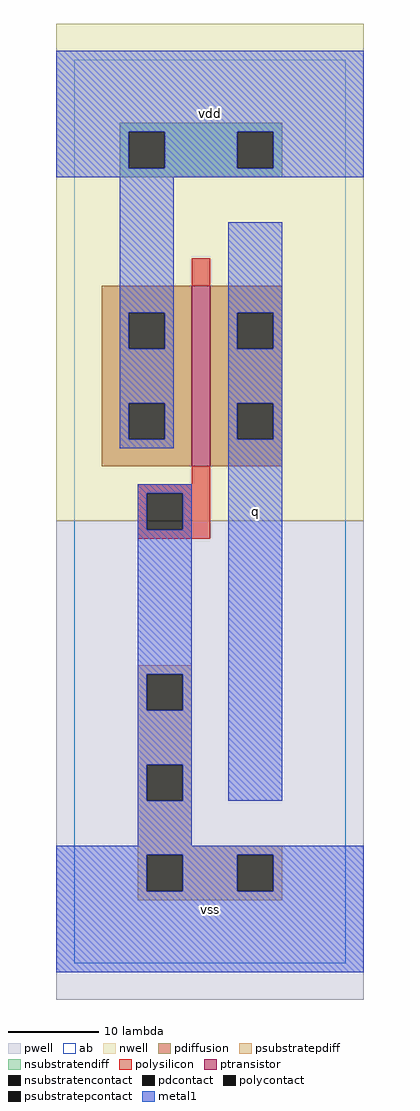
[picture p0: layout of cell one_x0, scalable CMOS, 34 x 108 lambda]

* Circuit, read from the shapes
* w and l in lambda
.subckt one_x0 q vdd vss
M1 q vss vdd vdd pfet w=20 l=2
.ends

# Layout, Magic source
magic
tech scmos
<< ab >>
rect 0 0 30 100
<< pwell >>
rect -2 -4 32 49
<< nwell >>
rect -2 49 32 104
<< polysilicon >>
rect 13 75 15 78
rect 13 53 15 55
rect 7 52 15 53
rect 7 48 8 52
rect 12 48 15 52
rect 7 47 15 48
<< pdiffusion >>
rect 3 72 13 75
rect 3 68 6 72
rect 10 68 13 72
rect 3 62 13 68
rect 3 58 6 62
rect 10 58 13 62
rect 3 55 13 58
rect 15 72 23 75
rect 15 68 18 72
rect 22 68 23 72
rect 15 62 23 68
rect 15 58 18 62
rect 22 58 23 62
rect 15 55 23 58
<< metal1 >>
rect -2 92 32 101
rect -2 88 6 92
rect 10 88 18 92
rect 22 88 32 92
rect -2 87 32 88
rect 5 72 11 87
rect 5 68 6 72
rect 10 68 11 72
rect 5 62 11 68
rect 5 58 6 62
rect 10 58 11 62
rect 5 57 11 58
rect 17 72 23 82
rect 17 68 18 72
rect 22 68 23 72
rect 17 62 23 68
rect 17 58 18 62
rect 22 58 23 62
rect 7 52 13 53
rect 7 48 8 52
rect 12 48 13 52
rect 7 32 13 48
rect 7 28 8 32
rect 12 28 13 32
rect 7 22 13 28
rect 7 18 8 22
rect 12 18 13 22
rect 17 18 23 58
rect 7 13 13 18
rect -2 12 32 13
rect -2 8 8 12
rect 12 8 18 12
rect 22 8 32 12
rect -2 -1 32 8
<< ptransistor >>
rect 13 55 15 75
<< polycontact >>
rect 8 48 12 52
<< pdcontact >>
rect 6 68 10 72
rect 6 58 10 62
rect 18 68 22 72
rect 18 58 22 62
<< psubstratepcontact >>
rect 8 28 12 32
rect 8 18 12 22
rect 8 8 12 12
rect 18 8 22 12
<< nsubstratencontact >>
rect 6 88 10 92
rect 18 88 22 92
<< psubstratepdiff >>
rect 7 32 13 33
rect 7 28 8 32
rect 12 28 13 32
rect 7 22 13 28
rect 7 18 8 22
rect 12 18 13 22
rect 7 13 13 18
rect 7 12 23 13
rect 7 8 8 12
rect 12 8 18 12
rect 22 8 23 12
rect 7 7 23 8
<< nsubstratendiff >>
rect 5 92 23 93
rect 5 88 6 92
rect 10 88 18 92
rect 22 88 23 92
rect 5 87 23 88
<< labels >>
rlabel metal1 15 6 15 6 6 vss
rlabel metal1 15 6 15 6 6 vss
rlabel metal1 15 94 15 94 6 vdd
rlabel metal1 15 94 15 94 6 vdd
rlabel metal1 20 50 20 50 6 q
rlabel metal1 20 50 20 50 6 q
<< end >>
